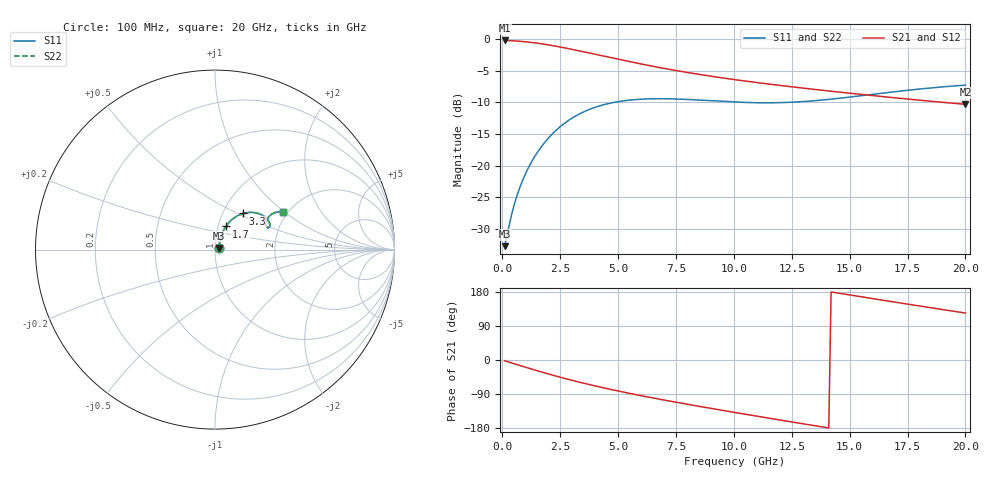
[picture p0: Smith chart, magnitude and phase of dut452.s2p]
! Touchstone file exported from HFSS 2024.1.0
!  File:  C:/UserFiles/LocalFiles/RDL_TSV_Batchsim/temp_RDL_TSV_452_1779725451.aedt
!  Generated:  12:24:57 AM May 26, 2026
!  Design:  RDL_TSV
!  Project:  temp_RDL_TSV_452_1779725451
!  Setup:  Setup1
!  Solution:  Sweep
! Variables:
!  dtsv = 7.71um
!  hbump = 3um
!  htsv = 69.45um
!  ldown = 431.03um
!  lrdl = 558.44um
!  p = 40
!  p1 = 48.81um
!  rhole = 10um
!  subl = 3526.85um
!  t = 450um
!  tdown = 4.52um
!  trdl = 4.36um
!  viad = 10um
!  wdown = 24.34um
!  wrdl = 11.02um
!  xbump = 18um
# GHz S MA R 50.000000
! Terminal data exported
! Port[1] = TM1_1_T1
! Port[2] = TM1_4_T1
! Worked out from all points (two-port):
!   200 points, 100 MHz to 20 GHz, reference 50 ohm
!   highest |S21| = -0.19 dB at 100 MHz (marker M1); lowest = -10.3 dB at 20 GHz (marker M2)
!   |S21| within 3 dB of the highest: start of sweep to 5.037 GHz
!   lowest |S11| = -32.7 dB at 100 MHz (marker M3), VSWR 1.05, Z = 52.2 + j0.903 ohm
!   |S11| at or under -10 dB: start of sweep to 4.807 GHz; 10.54 GHz to 12.25 GHz (1.712 GHz wide, 15 % of centre)
!   |S22| runs from -32.7 to -7.3 dB; largest |S21 - S12| = 3.9e-14
!   S11 on the Smith chart (normalised r, x): 100 MHz: 1.04, +0.02; 1.7 GHz: 1.09, +0.29; 3.3 GHz: 1.24, +0.54; 20 GHz: 1.89, +0.98
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0.1  0.02307 22.0  0.9785 -2.0  0.9785 -2.0  0.02307 22.0
! Gamma 0 0 0 0
! Port Impedance 50 0 50 0
0.4  0.04094 52.9  0.9737 -7.8  0.9737 -7.8  0.04095 52.9
0.6  0.05534 60.2  0.9688 -11.6  0.9688 -11.6  0.05534 60.1
0.8  0.07051 63.8  0.9627 -15.3  0.9627 -15.3  0.0705 63.8
1.2  0.1021 66.1  0.9467 -22.7  0.9467 -22.7  0.1021 66.1
1.7  0.1423 64.9  0.9204 -31.8  0.9204 -31.8  0.1422 64.9
2.1  0.1737 62.5  0.8955 -38.7  0.8955 -38.7  0.1736 62.4
2.5  0.2034 59.3  0.8684 -45.4  0.8684 -45.4  0.2033 59.2
3.3  0.2549 52.1  0.8112 -58.0  0.8112 -58.0  0.2547 52.1
3.5  0.2657 50.3  0.7968 -61.0  0.7968 -61.0  0.2655 50.3
4.2  0.2971 44.1  0.7476 -71.1  0.7476 -71.1  0.2968 44.1
5.1  0.323 37.2  0.6889 -83.1  0.6889 -83.1  0.3227 37.1
5.9  0.3348 32.0  0.6424 -93.0  0.6424 -93.0  0.3344 32.0
6.8  0.3387 27.6  0.5968 -103.6  0.5968 -103.6  0.3382 27.6
8.4  0.3313 23.0  0.531 -121.2  0.531 -121.2  0.3307 23.0
10.1  0.3185 22.5  0.4776 -139.1  0.4776 -139.1  0.3179 22.5
11.7  0.3145 25.0  0.4378 -155.4  0.4378 -155.4  0.3139 25.1
13.4  0.3255 28.7  0.4027 -172.4  0.4027 -172.4  0.325 28.9
15  0.3487 31.2  0.3744 171.7  0.3744 171.7  0.3484 31.3
16.7  0.3799 31.9  0.3479 155.2  0.3479 155.2  0.3798 32.0
18.3  0.4087 30.9  0.326 139.9  0.326 139.9  0.4086 31.0
20  0.4334 28.9  0.3057 123.9  0.3057 123.9  0.4335 29.0
